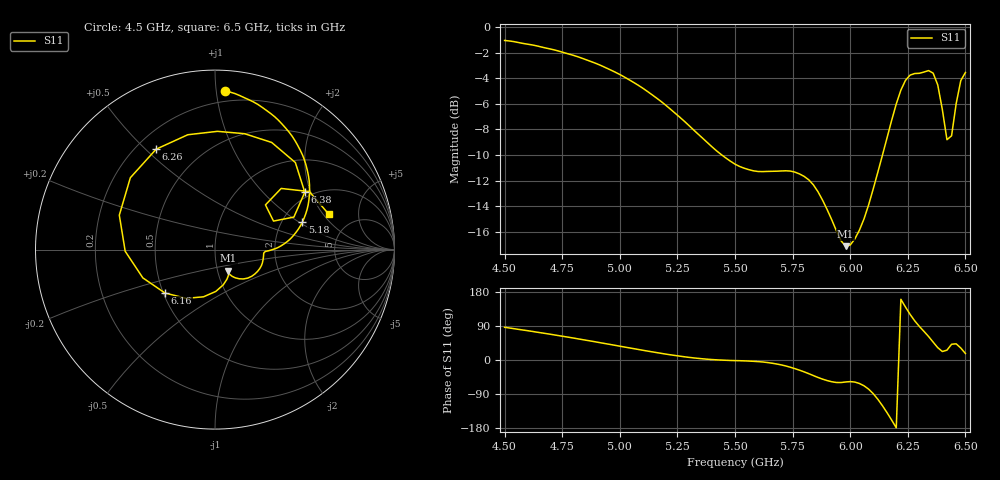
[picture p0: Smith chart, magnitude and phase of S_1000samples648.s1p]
! TOUCHSTONE file generated by CST MICROWAVE STUDIO
! Date and time: Fri Oct 28 21:52:32 2022
! Project name: L.cst
! Parameters = {Di=1.27; Epsilon_r=1.56; InnerDiameter=1.27; Length=2; Lf=10; Lg=60; OuterConductorThickness=0.2921; OuterDiameter=3.6; Wf=3; Wp=41.2; de=1.5; df=6.8; g=0.8; gx=1.53227; gy=4.36865; h=2.34; hf=1.524; px=12.9147; py=8.86621; w=9.7; wx=11.3824; wy=4.49757}
! Header version: 2018
! Port assignment regex: !\s*Touchstone port\s*([0-9]+)\s*=\s*(CST MWS port|CST DS port)\s*([0-9]+|Zmin|Zmax)\s*\(\"(.*)\"\)(\s*mode\s*([0-9]+))?.*
! Touchstone port assignment:
! Touchstone port 1 = CST MWS port 1 ("")
# GHz S DB R 50
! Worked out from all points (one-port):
!   101 points, 4.5 GHz to 6.5 GHz, reference 50 ohm
!   lowest |S11| = -17.1 dB at 5.98 GHz (marker M1), VSWR 1.32, Z = 56.2 - j13.5 ohm
!   |S11| at or under -10 dB: 5.443 GHz to 6.14 GHz (697.7 MHz wide, 12 % of centre)
!   S11 on the Smith chart (normalised r, x): 4.5 GHz: 0.13, +1.06; 5.18 GHz: 2.58, +1.07; 6.16 GHz: 0.51, -0.29; 6.26 GHz: 0.28, +0.54; 6.38 GHz: 1.84, +1.82; 6.5 GHz: 3.23, +2.28
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4.5  -1.06 86.3
4.76  -2.02 61.8
5  -3.72 36.5
5.18  -5.83 17.5
5.26  -7.05 10.2
5.5  -10.72 -1.6
5.76  -11.34 -22.9
5.84  -12.33 -41.1
5.98  -17.13 -58.0
6  -17.04 -57.0
6.06  -14.99 -68.0
6.1  -12.65 -88.9
6.16  -8.66 -139.1
6.18  -7.29 -158.6
6.22  -4.93 160.2
6.24  -4.17 139.7
6.26  -3.76 120.4
6.28  -3.64 103.3
6.32  -3.53 75.7
6.34  -3.41 62.1
6.36  -3.61 47.3
6.38  -4.53 32.6
6.4  -6.46 22.4
6.42  -8.81 26.0
6.44  -8.50 41.5
6.46  -5.99 42.7
6.48  -4.19 31.6
6.5  -3.56 17.3
